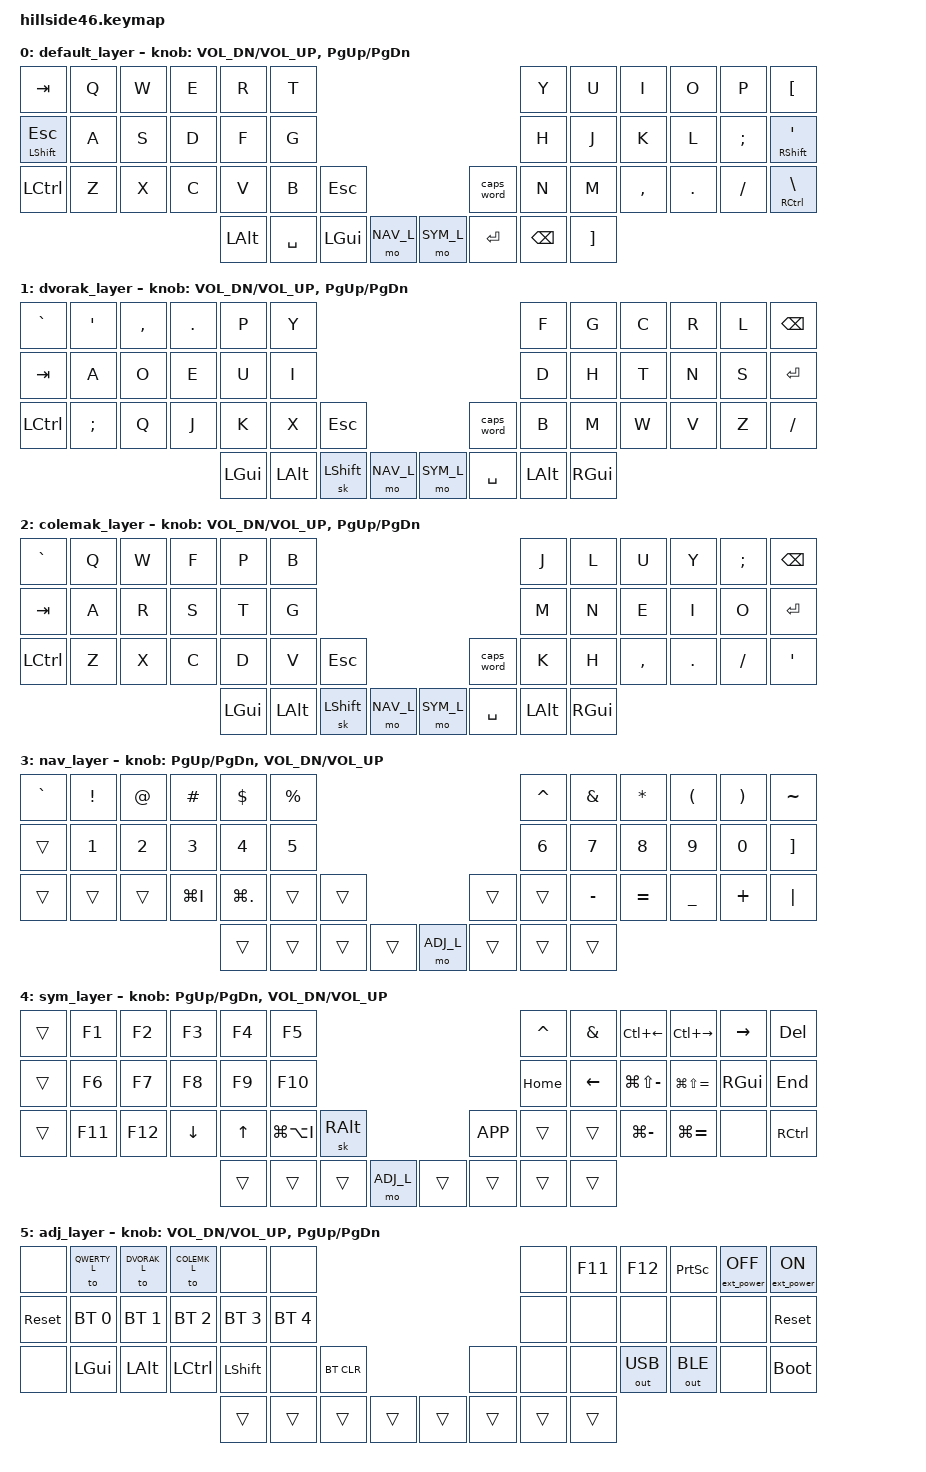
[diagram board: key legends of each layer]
/*
 * Copyright (c) 2021-2022 The ZMK Contributors
 *
 * SPDX-License-Identifier: MIT
 */

#include <behaviors.dtsi>
#include <dt-bindings/zmk/bt.h>
#include <dt-bindings/zmk/ext_power.h>
#include <dt-bindings/zmk/keys.h>
#include <dt-bindings/zmk/outputs.h>

#define QWERTY_L 0
#define DVORAK_L 1
#define COLEMK_L 2
#define NAV_L    3
#define SYM_L    4
#define ADJ_L    5

#define Undo   LC(Z)
#define Cut    LC(X)
#define Copy   LC(C)
#define Paste  LC(V)
#define Redo   LC(Y)


/ {
        keymap {
                compatible = "zmk,keymap";

                default_layer {
/* QWERTY
 * -------------------------------------------------------------------------------------------------------------------------------------
 * | TAB     |   Q   |   W   |   E   |   R   |   T   |-----------------------------------|   Y   |   U   |   I   |   O   |   P   | BKSPC |
 * | SHIFT/ESC   |   A   |   S   |   D   |   F   |   G   |-----------------------------------|   H   |   J   |   K   |   L   |   ;   | ENTER |
 * | CTRL  |   Z   |   X   |   C   |   V   |   B   |  ESC  |-------------------|  CAPS |   N   |   M   |   ,   |   .   |   /   |   '   |
 *                                 |  GUI  |  ALT  |SK SHFT|  Nav  |---|  Sym  | SPACE |  ALT  |  GUI  |
 */
                        bindings = <
&kp  TAB            &kp  Q        &kp  W        &kp  E        &kp  R        &kp  T                                                                         &kp  Y        &kp  U        &kp  I        &kp  O        &kp  P        &kp  LBKT
&mt  LSHFT ESC      &kp  A        &kp  S        &kp  D        &kp  F        &kp  G                                                                         &kp  H        &kp  J        &kp  K        &kp  L        &kp  SEMI     &mt  RSHFT SQT  
&kp  LCTRL          &kp  Z        &kp  X        &kp  C        &kp  V        &kp  B        &kp  ESC                                           &caps_word    &kp  N        &kp  M        &kp  COMMA    &kp  DOT      &kp  FSLH    &mt  RCTRL BSLH
                                                        &kp  LALT     &kp  SPACE     &kp  LGUI   &mo  NAV_L            &mo  SYM_L    &kp  RET    &kp  BSPC     &kp  RBKT
                        >;
			
                        sensor-bindings = <&inc_dec_kp C_VOL_DN C_VOL_UP &inc_dec_kp PG_UP PG_DN>;
                };
		
                dvorak_layer {
/* DVORAK
 * -------------------------------------------------------------------------------------------------------------------------------------
 * | `     |   '   |   ,   |   .   |   P   |   Y   |-----------------------------------|   F   |   G   |   C   |   R   |   L   | BKSPC |
 * | TAB   |   A   |   O   |   E   |   U   |   I   |-----------------------------------|   D   |   H   |   T   |   N   |   S   | ENTER |
 * | CTRL  |   ;   |   Q   |   J   |   K   |   X   |  ESC  |-------------------| CAPS  |   B   |   M   |   W   |   V   |   Z   |   /   |
 *                                 |  GUI  |  ALT  |SK SHFT|  Nav  |---|  Sym  | SPACE |  ALT  |  GUI  |
 */
                        bindings = <
&kp  GRAVE    &kp  SQT      &kp  COMMA    &kp  DOT      &kp  P        &kp  Y                                                                         &kp  F        &kp  G        &kp  C        &kp  R        &kp  L        &kp  BSPC
&kp  TAB      &kp  A        &kp  O        &kp  E        &kp  U        &kp  I                                                                         &kp  D        &kp  H        &kp  T        &kp  N        &kp  S        &kp  ENTER
&kp  LCTRL    &kp  SEMI     &kp  Q        &kp  J        &kp  K        &kp  X        &kp  ESC                                           &caps_word    &kp  B        &kp  M        &kp  W        &kp  V        &kp  Z        &kp  SLASH
                                                        &kp  LGUI     &kp  LALT     &sk  LSHIFT    &mo  NAV_L            &mo  SYM_L    &kp  SPACE    &kp  LALT     &kp  RGUI
                        >;
			
                        sensor-bindings = <&inc_dec_kp C_VOL_DN C_VOL_UP &inc_dec_kp PG_UP PG_DN>;
                };
		
                colemak_layer {
/* COLEMAK-DH
 * -------------------------------------------------------------------------------------------------------------------------------------
 * | `     |   Q   |   W   |   F   |   P   |   B   |-----------------------------------|   J   |   L   |   U   |   Y   |   ;   | BKSPC |
 * | TAB   |   A   |   R   |   S   |   T   |   G   |-----------------------------------|   M   |   N   |   E   |   I   |   O   | ENTER |
 * | CTRL  |   Z   |   X   |   C   |   D   |   V   |  ESC  |-------------------| CAPS  |   K   |   H   |   ,   |   .   |   /   |   '   |
 *                                 |  GUI  |  ALT  |SK SHFT|  Nav  |---|  Sym  | SPACE |  ALT  |  GUI  |
 */
                        bindings = <
&kp  GRAVE    &kp  Q        &kp  W        &kp  F        &kp  P        &kp  B                                                                         &kp  J        &kp  L        &kp  U        &kp  Y        &kp  SEMI     &kp  BSPC
&kp  TAB      &kp  A        &kp  R        &kp  S        &kp  T        &kp  G                                                                         &kp  M        &kp  N        &kp  E        &kp  I        &kp  O        &kp  ENTER
&kp  LCTRL    &kp  Z        &kp  X        &kp  C        &kp  D        &kp  V        &kp   ESC                                          &caps_word    &kp  K        &kp  H        &kp  COMMA    &kp  DOT      &kp  SLASH    &kp  SQT
                                                        &kp  LGUI     &kp  LALT     &sk  LSHIFT    &mo  NAV_L            &mo  SYM_L    &kp  SPACE    &kp  LALT     &kp  RGUI
                        >;
			
                        sensor-bindings = <&inc_dec_kp C_VOL_DN C_VOL_UP &inc_dec_kp PG_UP PG_DN>;
                };
		
                nav_layer {
/* NAV   
 * -------------------------------------------------------------------------------------------------------------------------------------
 * | Copy  |   1   |   2   |   3   |   4   |   5   |-----------------------------------|   6   |   7   |   8   |   9   |   0   | BSPC  |
 * | Cut   |  GUI  |  Alt  | Ctrl  | Shift | Paste |-----------------------------------| PG UP |  Left |  Up   |  Down | Right | PG DN |
 * | Ctrl  |  F1   |  F2   |  F3   |  F4   |  F5   |  UnDo |-------------------| ReDo  |  F6   |  F7   |  F8   |  F9   |  F10  | Ctrl  |
 *                                 |       |       |       |       |---| ADJ_L |       |       |       |
 */
                        bindings = <
&kp  GRAVE     &kp  EXCL       &kp  AT       &kp  HASH       &kp  DOLLAR       &kp  PRCNT                                                                  &kp   CARET      &kp   AMPS      &kp   ASTRK      &kp   LPAR      &kp  RPAR       &kp TILDE
&trans         &kp  N1         &kp  N2       &kp  N3         &kp  N4           &kp  N5                                                                     &kp   N6         &kp  N7         &kp   N8         &kp   N9        &kp  N0         &kp RBKT
&trans         &trans          &trans        &kp  LG(I)      &kp  LG(DOT)      &trans       &trans                                           &trans        &trans           &kp  MINUS      &kp   EQUAL      &kp   UNDER     &kp  PLUS       &kp PIPE
                                                        &trans        &trans        &trans        &trans                 &mo ADJ_L     &trans        &trans        &trans 
                        >;
			
                        sensor-bindings = <&inc_dec_kp PG_UP PG_DN &inc_dec_kp C_VOL_DN C_VOL_UP>;
                };

                sym_layer {
/* SYM
 * -------------------------------------------------------------------------------------------------------------------------------------
 * | INS   |   !   |   @   |   #   |   $   |   %   |-----------------------------------|   ^   |   &   |   *   |   (   |   )   | BSPC  |
 * |       |   \   |   -   |   =   |   [   |   ]   |-----------------------------------| HOME  | Shift | Ctrl  | Alt   | Gui   | END   |
 * | Ctrl  |   |   |   _   |   +   |   {   |   }   |SkAltGr|-------------------| MENU  | Mute  | Vol-  | Vol+  | Play  |       | Ctrl  |
 *                                 |       |       |       |  ADJ_L |---|      |       |       |       |
 */
                        bindings = <
&trans      &kp  F1     &kp  F2       &kp  F3     &kp  F4   &kp  F5                                                                                  &kp  CARET    &kp  AMPS    &kp  LC(LEFT)     &kp LC(RIGHT)   &kp  RIGHT    &kp DEL
&trans         &kp  F6     &kp  F7    &kp  F8    &kp  F9     &kp  F10                                                                                &kp  HOME     &kp  LEFT    &kp  LG(LS(MINUS))  &kp LG(LS(EQUAL))     &kp  RGUI     &kp END
&trans        &kp  F11     &kp  F12    &kp  DOWN     &kp  UP     &kp  LG(LA(I))     &sk  RALT                                          &kp K_APP     &trans        &trans       &kp  LG(MINUS)    &kp  LG(EQUAL)  &none         &kp RCTRL
                                                        &trans        &trans        &trans       &mo  ADJ_L               &trans       &trans        &trans        &trans
                        >;
			
                        sensor-bindings = <&inc_dec_kp PG_UP PG_DN &inc_dec_kp C_VOL_DN C_VOL_UP>;
                };
		
                adj_layer {
/* ADJUST
 * -------------------------------------------------------------------------------------------------------------------------------------
 * |       | QWERTY| DVORAK| COLEMK|       |       |-----------------------------------|       |  F11  |  F12  |Prt Scr|EP_OFF | EP_ON |
 * | RESET | BT 0  | BT 1  | BT 2  | BT 3  | BT 4  |-----------------------------------|       |       |       |       |       | RESET |
 * |       | LGUI  | LALT  | LCTRL | LSHIFT|       |BT CLR |-------------------|       |       |       |OUT_USB|OUT_BLE|       | BOOTL |
 *                                 |       |       |       |       |---|       |       |       |       |
 */
                        bindings = <
&none         &to  QWERTY_L &to  DVORAK_L &to  COLEMK_L &none         &none                                                                             &none             &kp   F11          &kp   F12  &kp PRINTSCREEN   &ext_power EP_OFF  &ext_power EP_ON
&sys_reset    &bt  BT_SEL 0 &bt  BT_SEL 1 &bt  BT_SEL 2 &bt  BT_SEL 3 &bt  BT_SEL 4                                                                     &none             &none              &none            &none          &none           &sys_reset
&none         &kp  LGUI     &kp  LALT     &kp  LCTRL    &kp LSHIFT    &none         &bt BT_CLR                                         &none            &none             &none              &out  OUT_USB    &out  OUT_BLE  &none           &bootloader
                                                        &trans        &trans        &trans        &trans                 &trans        &trans           &trans            &trans 
                        >;
			
                        sensor-bindings = <&inc_dec_kp C_VOL_DN C_VOL_UP &inc_dec_kp PG_UP PG_DN>;
                };
        };
};
